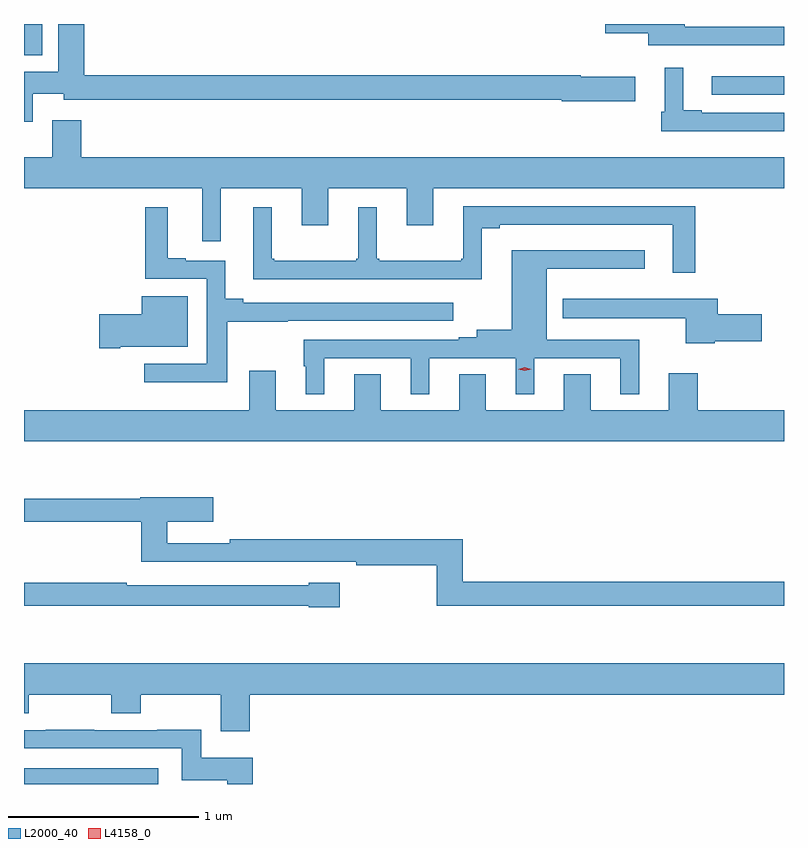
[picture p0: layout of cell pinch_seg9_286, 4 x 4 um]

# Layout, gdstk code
import gdstk
lib = gdstk.Library(unit=1e-6, precision=1e-09)
def R(c, l, rs):  # rectangles x0, y0, x1, y1
    for r in rs: c.add(gdstk.rectangle(r[:2], r[2:], *l))
def P(c, l, *ps):  # polygons
    for p in ps: c.add(gdstk.Polygon(p, *l))
L2000_40 = (2000, 40)
L4158_0 = (4158, 0)

pinch_seg9_286 = lib.new_cell('pinch_seg9_286')
R(pinch_seg9_286, L2000_40, [(445.345,1195.949,446.052,1196.032), (448.965,1199.577,449.345,1199.674), (445.345,1199.784,445.441,1199.949)])
P(pinch_seg9_286, L2000_40, [(445.39,1199.582),(445.554,1199.582),(445.554,1199.55),(448.176,1199.55),(448.176,1199.542),(448.561,1199.542),(448.561,1199.671),(448.276,1199.671),(448.276,1199.678),(445.661,1199.678),(445.661,1199.949),(445.526,1199.949),(445.526,1199.698),(445.345,1199.698),(445.345,1199.435),(445.39,1199.435)],
  [(449.345,1199.934),(448.822,1199.934),(448.822,1199.949),(448.404,1199.949),(448.404,1199.9),(448.631,1199.9),(448.631,1199.837),(449.345,1199.837)],
  [(449.345,1199.481),(448.912,1199.481),(448.912,1199.494),(448.816,1199.494),(448.816,1199.719),(448.718,1199.719),(448.718,1199.488),(448.699,1199.488),(448.699,1199.384),(449.345,1199.384)],
  [(446.38,1199.084),(446.807,1199.084),(446.807,1198.89),(446.947,1198.89),(446.947,1199.084),(447.359,1199.084),(447.359,1198.89),(447.499,1198.89),(447.499,1199.084),(449.345,1199.084),(449.345,1199.248),(445.646,1199.248),(445.646,1199.443),(445.493,1199.443),(445.493,1199.248),(445.345,1199.248),(445.345,1199.084),(446.282,1199.084),(446.282,1198.806),(446.38,1198.806)],
  [(447.754,1198.873),(447.85,1198.873),(447.85,1198.892),(448.76,1198.892),(448.76,1198.641),(448.877,1198.641),(448.877,1198.989),(447.656,1198.989),(447.656,1198.714),(447.645,1198.714),(447.645,1198.703),(447.214,1198.703),(447.214,1198.714),(447.202,1198.714),(447.202,1198.984),(447.104,1198.984),(447.104,1198.714),(447.093,1198.714),(447.093,1198.703),(446.662,1198.703),(446.662,1198.714),(446.65,1198.714),(446.65,1198.984),(446.552,1198.984),(446.552,1198.605),(447.754,1198.605)],
  [(446.416,1198.381),(446.732,1198.381),(446.732,1198.386),(447.604,1198.386),(447.604,1198.482),(446.5,1198.482),(446.5,1198.502),(446.404,1198.502),(446.404,1198.704),(446.197,1198.704),(446.197,1198.717),(446.101,1198.717),(446.101,1198.984),(445.983,1198.984),(445.983,1198.608),(446.307,1198.608),(446.307,1198.161),(445.977,1198.161),(445.977,1198.064),(446.416,1198.064)],
  [(446.926,1198.191),(447.38,1198.191),(447.38,1198.001),(447.478,1198.001),(447.478,1198.191),(447.932,1198.191),(447.932,1198.001),(448.03,1198.001),(448.03,1198.191),(448.484,1198.191),(448.484,1198.001),(448.582,1198.001),(448.582,1198.148),(448.584,1198.148),(448.584,1198.287),(448.096,1198.287),(448.096,1198.661),(448.612,1198.661),(448.612,1198.759),(447.911,1198.759),(447.911,1198.339),(447.728,1198.339),(447.728,1198.3),(447.632,1198.3),(447.632,1198.287),(446.817,1198.287),(446.817,1198.148),(446.828,1198.148),(446.828,1198.001),(446.926,1198.001)],
  [(445.852,1198.25),(446.206,1198.25),(446.206,1198.516),(445.964,1198.516),(445.964,1198.421),(445.74,1198.421),(445.74,1198.243),(445.852,1198.243)],
  [(448.98,1198.279),(449.227,1198.279),(449.227,1198.421),(448.997,1198.421),(448.997,1198.504),(448.181,1198.504),(448.181,1198.4),(448.829,1198.4),(448.829,1198.268),(448.98,1198.268)],
  [(449.345,1197.916),(448.892,1197.916),(448.892,1198.111),(448.739,1198.111),(448.739,1197.916),(448.327,1197.916),(448.327,1198.106),(448.187,1198.106),(448.187,1197.916),(447.775,1197.916),(447.775,1198.106),(447.635,1198.106),(447.635,1197.916),(447.223,1197.916),(447.223,1198.106),(447.083,1198.106),(447.083,1197.916),(446.671,1197.916),(446.671,1198.123),(446.531,1198.123),(446.531,1197.916),(445.345,1197.916),(445.345,1197.752),(449.345,1197.752)],
  [(449.345,1197.014),(447.653,1197.014),(447.653,1197.236),(446.428,1197.236),(446.428,1197.216),(446.099,1197.216),(446.099,1197.329),(446.341,1197.329),(446.341,1197.459),(445.956,1197.459),(445.956,1197.451),(445.345,1197.451),(445.345,1197.33),(445.963,1197.33),(445.963,1197.12),(447.094,1197.12),(447.094,1197.1),(447.517,1197.1),(447.517,1196.886),(449.345,1196.886)],
  [(447.007,1197.007),(446.844,1197.007),(446.844,1196.994),(445.886,1196.994),(445.886,1197.007),(445.345,1197.007),(445.345,1196.886),(446.844,1196.886),(446.844,1196.878),(447.007,1196.878)],
  [(446.534,1196.42),(449.345,1196.42),(449.345,1196.584),(445.345,1196.584),(445.345,1196.321),(445.371,1196.321),(445.371,1196.42),(445.804,1196.42),(445.804,1196.321),(445.959,1196.321),(445.959,1196.42),(446.381,1196.42),(446.381,1196.226),(446.534,1196.226)],
  [(446.549,1196.086),(446.278,1196.086),(446.278,1196.234),(446.047,1196.234),(446.047,1196.232),(445.715,1196.232),(445.715,1196.234),(445.459,1196.234),(445.459,1196.232),(445.345,1196.232),(445.345,1196.136),(446.174,1196.136),(446.174,1195.97),(446.414,1195.97),(446.414,1195.949),(446.549,1195.949)])
P(pinch_seg9_286, L4158_0, [(447.981,1198.123),(447.947,1198.133),(447.947,1198.133),(447.947,1198.133),(447.981,1198.143),(448.016,1198.133),(448.016,1198.133),(448.016,1198.133)])

lib.write_gds('pinch_seg9_286.gds')
